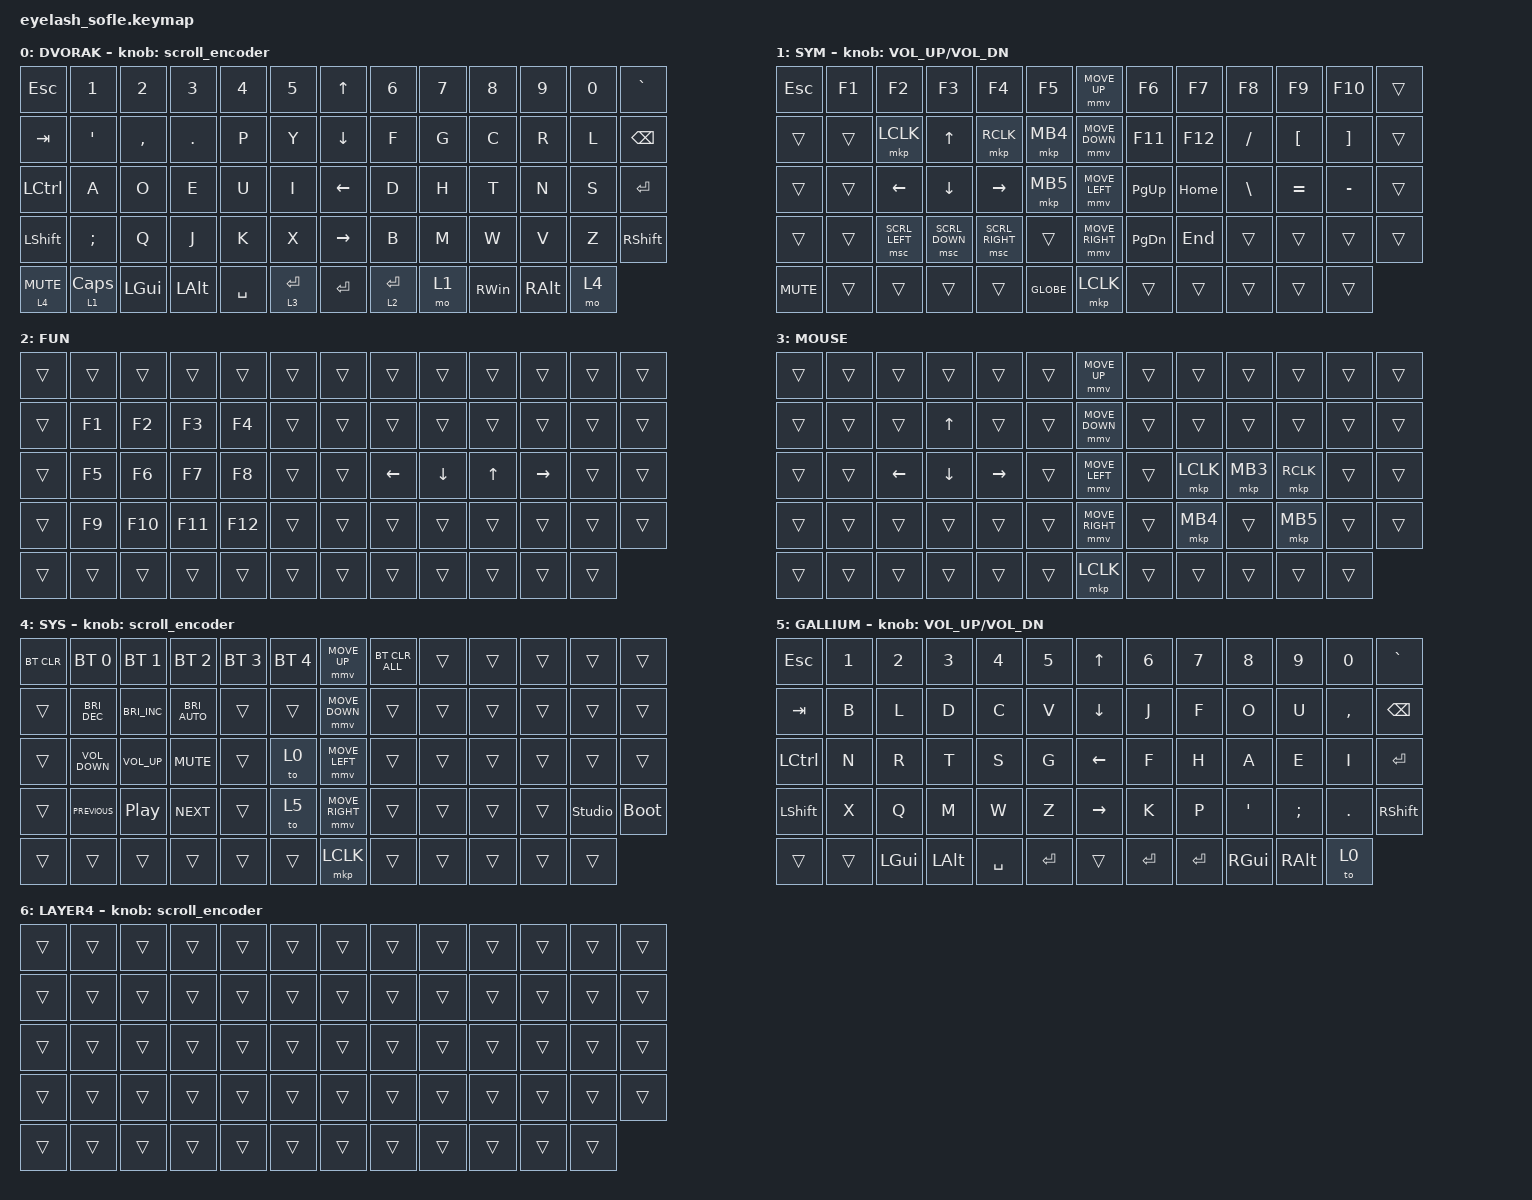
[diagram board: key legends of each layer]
#define ZMK_POINTING_DEFAULT_MOVE_VAL 1200  // 600
#define ZMK_POINTING_DEFAULT_SCRL_VAL 25   // 10

#include <input/processors.dtsi>
#include <zephyr/dt-bindings/input/input-event-codes.h>
#include <behaviors.dtsi>
#include <dt-bindings/zmk/bt.h>
#include <dt-bindings/zmk/keys.h>
#include <dt-bindings/zmk/pointing.h>

&mmv_input_listener { input-processors = <&zip_xy_scaler 2 1>; };

&msc_input_listener { input-processors = <&zip_scroll_scaler 2 1>; };

&msc {
    acceleration-exponent = <1>;      // 0
    time-to-max-speed-ms = <100>;       // 300
    delay-ms = <0>;                   // 0
};

&mmv {
    time-to-max-speed-ms = <500>;
    acceleration-exponent = <1>;
    trigger-period-ms = <16>;
};

&soft_off { hold-time-ms = <2000>; };

/ {
    scroll_encoder: scroll_encoder {
        compatible = "zmk,behavior-sensor-rotate";
        #sensor-binding-cells = <0>;
        bindings = <&msc SCRL_DOWN>, <&msc SCRL_UP>;

        tap-ms = <100>;
    };

    behaviors {
    };

    combos {
        compatible = "zmk,combos";

        softoff {
            bindings = <&soft_off>;
            key-positions = <14 28 40>;
        };
    };

    macros {
        SHIFT_MCLK: SHIFT_MCLK {
            compatible = "zmk,behavior-macro";
            #binding-cells = <0>;
            bindings =
                <&macro_press>,
                <&kp LEFT_SHIFT>,
                <&macro_press>,
                <&mkp MB3>,
                <&macro_pause_for_release>,
                <&macro_release>,
                <&kp LEFT_SHIFT &mkp MB3>;

            label = "SHIFT_MCLK";
        };
    };

    keymap {
        compatible = "zmk,keymap";

        default {
            bindings = <
&kp ESC       &kp N1      &kp N2     &kp N3    &kp N4     &kp N5         &kp UP_ARROW  &kp N6       &kp N7  &kp N8         &kp N9         &kp N0  &kp GRAVE
&kp TAB       &kp SQT     &kp COMMA  &kp DOT   &kp P      &kp Y          &kp DOWN      &kp F        &kp G   &kp C          &kp R          &kp L   &kp BACKSPACE
&kp LCTRL     &kp A       &kp O      &kp E     &kp U      &kp I          &kp LEFT      &kp D        &kp H   &kp T          &kp N          &kp S   &kp ENTER
&kp LSHFT     &kp SEMI    &kp Q      &kp J     &kp K      &kp X          &kp RIGHT     &kp B        &kp M   &kp W          &kp V          &kp Z   &kp RSHFT
&lt 4 C_MUTE  &lt 1 CAPS  &kp LGUI   &kp LALT  &kp SPACE  &lt 3 ENTER    &kp ENTER     &lt 2 ENTER  &mo 1   &kp RIGHT_WIN  &kp RIGHT_ALT  &mo 4
            >;

            sensor-bindings = <&scroll_encoder>;
            display-name = "DVORAK";
        };

        SYMBOL {
            bindings = <
&kp ESCAPE  &kp F1  &kp F2          &kp F3          &kp F4           &kp F5       &mmv MOVE_UP     &kp F6         &kp F7    &kp F8         &kp F9            &kp F10            &trans
&trans      &trans  &mkp LCLK       &kp UP          &mkp RCLK        &mkp MB4     &mmv MOVE_DOWN   &kp F11        &kp F12   &kp SLASH      &kp LEFT_BRACKET  &kp RIGHT_BRACKET  &trans
&trans      &trans  &kp LEFT        &kp DOWN        &kp RIGHT        &mkp MB5     &mmv MOVE_LEFT   &kp PAGE_UP    &kp HOME  &kp BACKSLASH  &kp EQUAL         &kp MINUS          &trans
&trans      &trans  &msc SCRL_LEFT  &msc SCRL_DOWN  &msc SCRL_RIGHT  &trans       &mmv MOVE_RIGHT  &kp PAGE_DOWN  &kp END   &trans         &trans            &trans             &trans
&kp C_MUTE  &trans  &trans          &trans          &trans           &kp GLOBE    &mkp LCLK        &trans         &trans    &trans         &trans            &trans
            >;

            sensor-bindings = <&inc_dec_kp C_VOLUME_UP C_VOL_DN>;
            display-name = "SYM";
        };

        FUNCTION {
            bindings = <
&trans  &trans  &trans   &trans   &trans   &trans    &trans  &trans    &trans    &trans  &trans     &trans  &trans
&trans  &kp F1  &kp F2   &kp F3   &kp F4   &trans    &trans  &trans    &trans    &trans  &trans     &trans  &trans
&trans  &kp F5  &kp F6   &kp F7   &kp F8   &trans    &trans  &kp LEFT  &kp DOWN  &kp UP  &kp RIGHT  &trans  &trans
&trans  &kp F9  &kp F10  &kp F11  &kp F12  &trans    &trans  &trans    &trans    &trans  &trans     &trans  &trans
&trans  &trans  &trans   &trans   &trans   &trans    &trans  &trans    &trans    &trans  &trans     &trans
            >;

            label = "FUN";
        };

        MOUSE {
            bindings = <
&trans  &trans  &trans    &trans    &trans     &trans    &mmv MOVE_UP     &trans  &trans     &trans    &trans     &trans  &trans
&trans  &trans  &trans    &kp UP    &trans     &trans    &mmv MOVE_DOWN   &trans  &trans     &trans    &trans     &trans  &trans
&trans  &trans  &kp LEFT  &kp DOWN  &kp RIGHT  &trans    &mmv MOVE_LEFT   &trans  &mkp LCLK  &mkp MB3  &mkp RCLK  &trans  &trans
&trans  &trans  &trans    &trans    &trans     &trans    &mmv MOVE_RIGHT  &trans  &mkp MB4   &trans    &mkp MB5   &trans  &trans
&trans  &trans  &trans    &trans    &trans     &trans    &mkp LCLK        &trans  &trans     &trans    &trans     &trans
            >;

            label = "MOUSE";
        };

        SYSTEM {
            bindings = <
&bt BT_CLR  &bt BT_SEL 0          &bt BT_SEL 1          &bt BT_SEL 2           &bt BT_SEL 3  &bt BT_SEL 4    &mmv MOVE_UP     &bt BT_CLR_ALL  &trans  &trans  &trans  &trans          &trans
&trans      &kp C_BRIGHTNESS_DEC  &kp C_BRIGHTNESS_INC  &kp C_BRIGHTNESS_AUTO  &trans        &trans          &mmv MOVE_DOWN   &trans          &trans  &trans  &trans  &trans          &trans
&trans      &kp C_VOLUME_DOWN     &kp C_VOLUME_UP       &kp C_MUTE             &trans        &to 0           &mmv MOVE_LEFT   &trans          &trans  &trans  &trans  &trans          &trans
&trans      &kp C_PREVIOUS        &kp C_PLAY_PAUSE      &kp C_NEXT             &trans        &to 5           &mmv MOVE_RIGHT  &trans          &trans  &trans  &trans  &studio_unlock  &bootloader
&trans      &trans                &trans                &trans                 &trans        &trans          &mkp LCLK        &trans          &trans  &trans  &trans  &trans
            >;

            display-name = "SYS";
            sensor-bindings = <&scroll_encoder>;
        };

        Gallium {
            bindings = <
&kp ESC    &kp N1  &kp N2    &kp N3    &kp N4     &kp N5     &kp UP     &kp N6   &kp N7   &kp N8    &kp N9    &kp N0     &kp GRAVE
&kp TAB    &kp B   &kp L     &kp D     &kp C      &kp V      &kp DOWN   &kp J    &kp F    &kp O     &kp U     &kp COMMA  &kp BSPC
&kp LCTRL  &kp N   &kp R     &kp T     &kp S      &kp G      &kp LEFT   &kp F    &kp H    &kp A     &kp E     &kp I      &kp RET
&kp LSHFT  &kp X   &kp Q     &kp M     &kp W      &kp Z      &kp RIGHT  &kp K    &kp P    &kp SQT   &kp SEMI  &kp DOT    &kp RSHFT
&trans     &trans  &kp LGUI  &kp LALT  &kp SPACE  &kp RET    &trans     &kp RET  &kp RET  &kp RGUI  &kp RALT  &to 0
            >;

            display-name = "GALLIUM";
            sensor-bindings = <&inc_dec_kp C_VOLUME_UP C_VOL_DN>;
        };

        layer_4 {
            bindings = <
&trans  &trans  &trans  &trans  &trans  &trans    &trans  &trans  &trans  &trans  &trans  &trans  &trans
&trans  &trans  &trans  &trans  &trans  &trans    &trans  &trans  &trans  &trans  &trans  &trans  &trans
&trans  &trans  &trans  &trans  &trans  &trans    &trans  &trans  &trans  &trans  &trans  &trans  &trans
&trans  &trans  &trans  &trans  &trans  &trans    &trans  &trans  &trans  &trans  &trans  &trans  &trans
&trans  &trans  &trans  &trans  &trans  &trans    &trans  &trans  &trans  &trans  &trans  &trans
            >;

            display-name = "LAYER4";
            sensor-bindings = <&scroll_encoder>;
        };
    };
};
